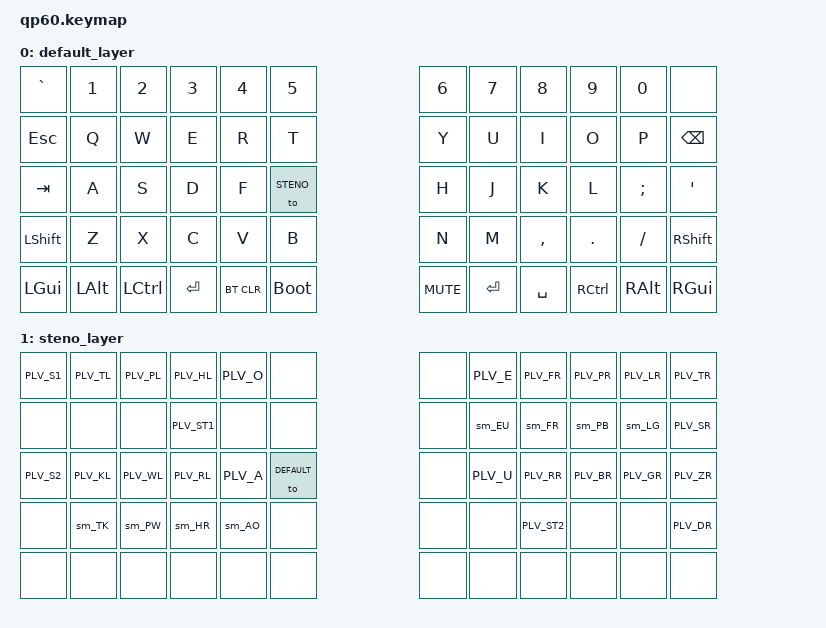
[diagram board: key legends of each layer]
/*
 * Copyright (c) 2020 The ZMK Contributors
 *
 * SPDX-License-Identifier: MIT
 */

#include <behaviors.dtsi>
#include <dt-bindings/zmk/keys.h>
#include <dt-bindings/zmk/bt.h>

// Custom layers
#define DEFAULT 0
#define STENO 1

// Steno macros
#define stn_mc(NODELABEL, NODE, LABEL, KEY1, KEY2) \
    NODELABEL: NODE { \
        compatible = "zmk,behavior-macro"; \
        label = LABEL; \
        #binding-cells = <0>; \
        bindings = <&kp KEY1>, <&kp KEY2>; \
        mode = "hold";\
    }

/ {
    behaviors {
        // Steno macro definitions, Left
        stn_mc(sm_TK, sm_tk, "SM_TK", PLV_TL, PLV_KL);
        stn_mc(sm_HR, sm_hr, "SM_HR", PLV_HL, PLV_RL);
        stn_mc(sm_PW, sm_pw, "SM_PW", PLV_PL, PLV_WL);
        stn_mc(sm_AO, sm_ao, "SM_AO", PLV_A, PLV_O);
        // Steno macro definitions, Right
        stn_mc(sm_EU, sm_eu, "SM_EU", PLV_E, PLV_U);
        stn_mc(sm_FR, sm_fr, "SM_FR", PLV_FR, PLV_RR);
        stn_mc(sm_PB, sm_pb, "SM_PB", PLV_PR, PLV_BR);
        stn_mc(sm_LG, sm_lg, "SM_LG", PLV_LR, PLV_GR);
	};
    

    keymap {
        compatible = "zmk,keymap";

        default_layer {
/* DEFAULT:
UP          | F1_1  | F2_1  | F3_1  | F4_1  | TH1_1 | TH2_1 |                 | TH2_1 | TH1_1 | F4_1  | F3_1  | F2_1  | F1_1  |     UP
RIGHT       | F1_2  | F2_2  | F3_2  | F4_2  | TH1_2 | TH2_2 |                 | TH2_2 | TH1_2 | F4_2  | F3_2  | F2_2  | F1_2  |     RIGHT
DOWN        | F1_3  | F2_3  | F3_3  | F4_3  | TH1_3 | TH2_3 |                 | TH2_3 | TH1_3 | F4_3  | F3_3  | F2_3  | F1_4  |     DOWN
LEFT        | F1_4  | F2_4  | F3_4  | F4_4  | TH1_4 | TH2_4 |                 | TH2_4 | TH1_4 | F4_4  | F3_4  | F2_4  | F1_5  |     LEFT
CLICK       | F1_5  | F2_5  | F3_5  | F4_5  | TH1_5 | TH2_5 |                 | TH2_5 | TH1_5 | F4_5  | F3_5  | F2_5  | F1_5  |     CLICK
*/
            bindings = <
&kp GRAVE &kp N1 &kp N2   &kp N3   &kp N4    &kp N5                      &kp N6 &kp N7    &kp N8    &kp N9   &kp N0   &none
&kp ESC   &kp Q  &kp W    &kp E    &kp R     &kp T                       &kp Y  &kp U     &kp I     &kp O    &kp P    &kp BSPC
&kp TAB   &kp A  &kp S    &kp D    &kp F     &to STENO                   &kp H  &kp J     &kp K     &kp L    &kp SEMI &kp SQT
&kp LSHFT &kp Z  &kp X    &kp C    &kp V     &kp B                       &kp N  &kp M     &kp COMMA &kp DOT  &kp FSLH &kp RSHFT
&kp LGUI &kp LALT &kp LCTRL &kp RET &bt BT_CLR &bootloader               &kp C_MUTE &kp RET  &kp SPACE &kp RCTRL &kp RALT  &kp RGUI
            >;
        };
        
        steno_layer {
/* STENO
UP          | F1_1  | F2_1  | F3_1  | F4_1  | TH1_1 | TH2_1 |                 | TH2_1 | TH1_1 | F4_1  | F3_1  | F2_1  | F1_1  |     UP
RIGHT       | F1_2  | F2_2  | F3_2  | F4_2  | TH1_2 | TH2_2 |                 | TH2_2 | TH1_2 | F4_2  | F3_2  | F2_2  | F1_2  |     RIGHT
DOWN        | F1_3  | F2_3  | F3_3  | F4_3  | TH1_3 | TH2_3 |                 | TH2_3 | TH1_3 | F4_3  | F3_3  | F2_3  | F1_4  |     DOWN
LEFT        | F1_4  | F2_4  | F3_4  | F4_4  | TH1_4 | TH2_4 |                 | TH2_4 | TH1_4 | F4_4  | F3_4  | F2_4  | F1_5  |     LEFT
CLICK       | F1_5  | F2_5  | F3_5  | F4_5  | TH1_5 | TH2_5 |                 | TH2_5 | TH1_5 | F4_5  | F3_5  | F2_5  | F1_5  |     CLICK
*/
            bindings = <
&kp PLV_S1  &kp PLV_TL  &kp PLV_PL  &kp PLV_HL  &kp PLV_O   &none                 &none     &kp PLV_E   &kp PLV_FR  &kp PLV_PR  &kp PLV_LR  &kp PLV_TR
&none       &none       &none       &kp PLV_ST1 &none       &none                 &none     &sm_EU      &sm_FR      &sm_PB      &sm_LG      &kp PLV_SR
&kp PLV_S2  &kp PLV_KL  &kp PLV_WL  &kp PLV_RL  &kp PLV_A   &to DEFAULT           &none     &kp PLV_U   &kp PLV_RR  &kp PLV_BR  &kp PLV_GR  &kp PLV_ZR
&none       &sm_TK      &sm_PW      &sm_HR      &sm_AO      &none                 &none     &none       &kp PLV_ST2 &none       &none       &kp PLV_DR
&none       &none       &none       &none       &none       &none                 &none     &none       &none       &none       &none       &none
            >;
        };

    };
};

//        template_layer {
/*
UP          | F1_1  | F2_1  | F3_1  | F4_1  | TH1_1 | TH2_1 |                 | TH2_1 | TH1_1 | F4_1  | F3_1  | F2_1  | F1_1  |
RIGHT       | F1_2  | F2_2  | F3_2  | F4_2  | TH1_2 | TH2_2 |                 | TH2_2 | TH1_2 | F4_2  | F3_2  | F2_2  | F1_2  |
DOWN        | F1_3  | F2_3  | F3_3  | F4_3  | TH1_3 | TH2_3 |                 | TH2_3 | TH1_3 | F4_3  | F3_3  | F2_3  | F1_4  |
LEFT        | F1_4  | F2_4  | F3_4  | F4_4  | TH1_4 | TH2_4 |                 | TH2_4 | TH1_4 | F4_4  | F3_4  | F2_4  | F1_5  |
CLICK       | F1_5  | F2_5  | F3_5  | F4_5  | TH1_5 | TH2_5 |                 | TH2_5 | TH1_5 | F4_5  | F3_5  | F2_5  | F1_5  |
*/

//            bindings = <
//&trans     &trans     &trans     &trans     &trans     &trans                                   &trans     &trans     &trans     &trans     &trans     &trans
//&trans     &trans     &trans     &trans     &trans     &trans                                   &trans     &trans     &trans     &trans     &trans     &trans
//&trans     &trans     &trans     &trans     &trans     &trans                                   &trans     &trans     &trans     &trans     &trans     &trans
//&trans     &trans     &trans     &trans     &trans     &trans                                   &trans     &trans     &trans     &trans     &trans     &trans
//&trans     &trans     &trans     &trans     &trans     &trans                                   &trans     &trans     &trans     &trans     &trans     &trans
//            >;
//        };

